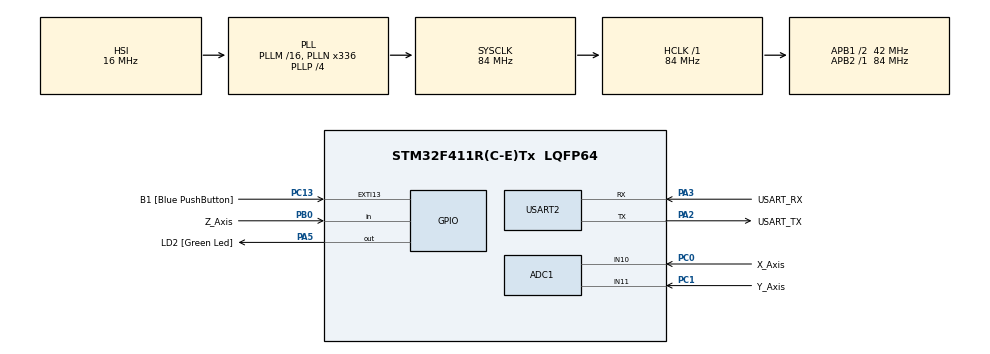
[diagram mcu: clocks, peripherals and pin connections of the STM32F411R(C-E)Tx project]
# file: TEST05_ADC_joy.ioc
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ADC1.Channel-3\#ChannelRegularConversion=ADC_CHANNEL_10
ADC1.Channel-5\#ChannelRegularConversion=ADC_CHANNEL_11
ADC1.ContinuousConvMode=DISABLE
ADC1.DiscontinuousConvMode=ENABLE
ADC1.NbrOfConversion=2
ADC1.NbrOfConversionFlag=1
ADC1.NbrOfDiscConversion=1
ADC1.Rank-3\#ChannelRegularConversion=1
ADC1.Rank-5\#ChannelRegularConversion=2
ADC1.SamplingTime-3\#ChannelRegularConversion=ADC_SAMPLETIME_15CYCLES
ADC1.SamplingTime-5\#ChannelRegularConversion=ADC_SAMPLETIME_15CYCLES
ADC1.ScanConvMode=ENABLE
ADC1.master=1
Mcu.Family=STM32F4
Mcu.Name=STM32F411R(C-E)Tx
Mcu.Package=LQFP64
NVIC.PriorityGroup=NVIC_PRIORITYGROUP_0
PA13.GPIO_Label=TMS
PA13.Mode=Serial_Wire
PA13.Signal=SYS_JTMS-SWDIO
PA14.GPIO_Label=TCK
PA14.Mode=Serial_Wire
PA14.Signal=SYS_JTCK-SWCLK
PA2.GPIO_Label=USART_TX
PA2.Mode=Asynchronous
PA2.Signal=USART2_TX
PA3.GPIO_Label=USART_RX
PA3.Mode=Asynchronous
PA3.Signal=USART2_RX
PA5.GPIO_Label=LD2 [Green Led]
PA5.Signal=GPIO_Output
PB0.GPIO_Label=Z_Axis
PB0.GPIO_PuPd=GPIO_PULLUP
PB0.Signal=GPIO_Input
PB3.GPIO_Label=SWO
PB3.Signal=SYS_JTDO-SWO
PC0.GPIO_Label=X_Axis
PC0.Signal=ADCx_IN10
PC1.GPIO_Label=Y_Axis
PC1.Signal=ADCx_IN11
PC13-ANTI_TAMP.GPIO_Label=B1 [Blue PushButton]
PC13-ANTI_TAMP.GPIO_ModeDefaultEXTI=GPIO_MODE_IT_FALLING
PC13-ANTI_TAMP.Signal=GPXTI13
PC14-OSC32_IN.Mode=LSE-External-Oscillator
PC14-OSC32_IN.Signal=RCC_OSC32_IN
PC15-OSC32_OUT.Mode=LSE-External-Oscillator
PC15-OSC32_OUT.Signal=RCC_OSC32_OUT
PH0\ -\ OSC_IN.Mode=HSE-External-Clock-Source
PH0\ -\ OSC_IN.Signal=RCC_OSC_IN
PH1\ -\ OSC_OUT.Mode=HSE-External-Clock-Source
PH1\ -\ OSC_OUT.Signal=RCC_OSC_OUT
ProjectManager.HeapSize=0x200
ProjectManager.StackSize=0x400
ProjectManager.TargetToolchain=STM32CubeIDE
RCC.48MHZClocksFreq_Value=84000000
RCC.AHBFreq_Value=84000000
RCC.APB1CLKDivider=RCC_HCLK_DIV2
RCC.APB1Freq_Value=42000000
RCC.APB1TimFreq_Value=84000000
RCC.APB2Freq_Value=84000000
RCC.APB2TimFreq_Value=84000000
RCC.CortexFreq_Value=84000000
RCC.FLatency-AdvancedSettings=FLASH_LATENCY_2
RCC.HCLKFreq_Value=84000000
RCC.HSE_VALUE=8000000
RCC.HSI_VALUE=16000000
RCC.PLLN=336
RCC.PLLP=RCC_PLLP_DIV4
RCC.SYSCLKFreq_VALUE=84000000
RCC.SYSCLKSource=RCC_SYSCLKSOURCE_PLLCLK
RCC.VCOOutputFreq_Value=336000000
SH.ADCx_IN10.0=ADC1_IN10,IN10
SH.ADCx_IN11.0=ADC1_IN11,IN11
TIM3.Period=65535
TIM3.Prescaler=0
USART2.VirtualMode=VM_ASYNC
VP_TIM3_VS_ClockSourceINT.Mode=Internal
board=NUCLEO-F411RE

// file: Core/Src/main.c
/* USER CODE BEGIN Header */
/**
  ******************************************************************************
  * @file           : main.c
  * @brief          : Main program body
  ******************************************************************************
  * @attention
  *
  * Copyright (c) 2024 STMicroelectronics.
  * All rights reserved.
  *
  * This software is licensed under terms that can be found in the LICENSE file
  * in the root directory of this software component.
  * If no LICENSE file comes with this software, it is provided AS-IS.
  *
  ******************************************************************************
  */
/* USER CODE END Header */
#include "main.h"

/* USER CODE BEGIN Includes */
#include <stdio.h>

/* USER CODE END Includes */

ADC_HandleTypeDef hadc1;

TIM_HandleTypeDef htim3;

UART_HandleTypeDef huart2;

void SystemClock_Config(void);
static void MX_GPIO_Init(void);
static void MX_USART2_UART_Init(void);
static void MX_ADC1_Init(void);
static void MX_TIM3_Init(void);

/* USER CODE BEGIN 0 */
int xa[100], ya[100];
void MakeItem()
{
	int i;
	srand(htim3.Instance->CNT);
	for(i = 0; i < 100; i++)
	{
		int v1 = rand();
		int v2 = rand();
		//printf("v : %d\r\n", x);
		//HAL_Delay(100);
		xa[i] = ((double)v1 / 2147483647.) * 80;
		ya[i] = ((double)v2 / 2147483647.) * 24;
		printf("[%d:%d](%d,%d)\r\n", v1, v2, xa[i], ya[i]);
		//printf("\033[%d;%dHo", xa[i], ya[i]);
	}
	printf("\n");
}

/* USER CODE END 0 */

int main(void)
{

  /* MCU Configuration--------------------------------------------------------*/

  /* Reset of all peripherals, Initializes the Flash interface and the Systick. */
  HAL_Init();

  /* Configure the system clock */
  SystemClock_Config();

  /* Initialize all configured peripherals */
  MX_GPIO_Init();
  MX_USART2_UART_Init();
  MX_ADC1_Init();
  MX_TIM3_Init();
  /* USER CODE BEGIN 2 */
  ProgramStart("ADC Polling");
  printf("\033[2J\033[?25l\n");

  /* USER CODE END 2 */

  /* Infinite loop */
  /* USER CODE BEGIN WHILE */
  int sx = 80, sy = 24; // screen size
  int cx = 39, cy = 12; // initial position
  while (1)
  {
    /* USER CODE END WHILE */

    /* USER CODE BEGIN 3 */
	  HAL_ADC_Start(&hadc1);
	  HAL_ADC_PollForConversion(&hadc1, 1000);
	  int v = HAL_ADC_GetValue(&hadc1);
	  int x = (sx * v) / 4096;
	  // HAL_ADC_Stop(&hadc1); // Skip
	  HAL_ADC_Start(&hadc1);
	  HAL_ADC_PollForConversion(&hadc1, 1000);
	  v = HAL_ADC_GetValue(&hadc1);
	  int y = (sy * v) / 4096;
	  //HAL_ADC_Start(&hadc1);
	  //HAL_ADC_PollForConversion(&hadc1, 1000);
	  int z = HAL_GPIO_ReadPin(Z_Axis_GPIO_Port, Z_Axis_Pin);
	  printf("\033[0;0HADC Value : (%d, %d, %d)\n", x, y, z);
	  printf("\033[%d;%dH \033[%d;%dH@\033[A\n", cy, cx, y, x);
	  cx = x; cy = y;
	  HAL_Delay(100);
  }
  /* USER CODE END 3 */
}

void SystemClock_Config(void)
{
  RCC_OscInitTypeDef RCC_OscInitStruct = {0};
  RCC_ClkInitTypeDef RCC_ClkInitStruct = {0};

  /** Configure the main internal regulator output voltage
  */
  __HAL_RCC_PWR_CLK_ENABLE();
  __HAL_PWR_VOLTAGESCALING_CONFIG(PWR_REGULATOR_VOLTAGE_SCALE1);

  /** Initializes the RCC Oscillators according to the specified parameters
  * in the RCC_OscInitTypeDef structure.
  */
  RCC_OscInitStruct.OscillatorType = RCC_OSCILLATORTYPE_HSI;
  RCC_OscInitStruct.HSIState = RCC_HSI_ON;
  RCC_OscInitStruct.HSICalibrationValue = RCC_HSICALIBRATION_DEFAULT;
  RCC_OscInitStruct.PLL.PLLState = RCC_PLL_ON;
  RCC_OscInitStruct.PLL.PLLSource = RCC_PLLSOURCE_HSI;
  RCC_OscInitStruct.PLL.PLLM = 16;
  RCC_OscInitStruct.PLL.PLLN = 336;
  RCC_OscInitStruct.PLL.PLLP = RCC_PLLP_DIV4;
  RCC_OscInitStruct.PLL.PLLQ = 4;
  if (HAL_RCC_OscConfig(&RCC_OscInitStruct) != HAL_OK)
  {
    Error_Handler();
  }

  /** Initializes the CPU, AHB and APB buses clocks
  */
  RCC_ClkInitStruct.ClockType = RCC_CLOCKTYPE_HCLK|RCC_CLOCKTYPE_SYSCLK
                              |RCC_CLOCKTYPE_PCLK1|RCC_CLOCKTYPE_PCLK2;
  RCC_ClkInitStruct.SYSCLKSource = RCC_SYSCLKSOURCE_PLLCLK;
  RCC_ClkInitStruct.AHBCLKDivider = RCC_SYSCLK_DIV1;
  RCC_ClkInitStruct.APB1CLKDivider = RCC_HCLK_DIV2;
  RCC_ClkInitStruct.APB2CLKDivider = RCC_HCLK_DIV1;

  if (HAL_RCC_ClockConfig(&RCC_ClkInitStruct, FLASH_LATENCY_2) != HAL_OK)
  {
    Error_Handler();
  }
}

static void MX_ADC1_Init(void)
{

  ADC_ChannelConfTypeDef sConfig = {0};

  /** Configure the global features of the ADC (Clock, Resolution, Data Alignment and number of conversion)
  */
  hadc1.Instance = ADC1;
  hadc1.Init.ClockPrescaler = ADC_CLOCK_SYNC_PCLK_DIV4;
  hadc1.Init.Resolution = ADC_RESOLUTION_12B;
  hadc1.Init.ScanConvMode = ENABLE;
  hadc1.Init.ContinuousConvMode = DISABLE;
  hadc1.Init.DiscontinuousConvMode = ENABLE;
  hadc1.Init.NbrOfDiscConversion = 1;
  hadc1.Init.ExternalTrigConvEdge = ADC_EXTERNALTRIGCONVEDGE_NONE;
  hadc1.Init.ExternalTrigConv = ADC_SOFTWARE_START;
  hadc1.Init.DataAlign = ADC_DATAALIGN_RIGHT;
  hadc1.Init.NbrOfConversion = 2;
  hadc1.Init.DMAContinuousRequests = DISABLE;
  hadc1.Init.EOCSelection = ADC_EOC_SINGLE_CONV;
  if (HAL_ADC_Init(&hadc1) != HAL_OK)
  {
    Error_Handler();
  }

  /** Configure for the selected ADC regular channel its corresponding rank in the sequencer and its sample time.
  */
  sConfig.Channel = ADC_CHANNEL_10;
  sConfig.Rank = 1;
  sConfig.SamplingTime = ADC_SAMPLETIME_15CYCLES;
  if (HAL_ADC_ConfigChannel(&hadc1, &sConfig) != HAL_OK)
  {
    Error_Handler();
  }

  /** Configure for the selected ADC regular channel its corresponding rank in the sequencer and its sample time.
  */
  sConfig.Channel = ADC_CHANNEL_11;
  sConfig.Rank = 2;
  if (HAL_ADC_ConfigChannel(&hadc1, &sConfig) != HAL_OK)
  {
    Error_Handler();
  }

}

static void MX_TIM3_Init(void)
{

  TIM_ClockConfigTypeDef sClockSourceConfig = {0};
  TIM_MasterConfigTypeDef sMasterConfig = {0};

  htim3.Instance = TIM3;
  htim3.Init.Prescaler = 0;
  htim3.Init.CounterMode = TIM_COUNTERMODE_UP;
  htim3.Init.Period = 65535;
  htim3.Init.ClockDivision = TIM_CLOCKDIVISION_DIV1;
  htim3.Init.AutoReloadPreload = TIM_AUTORELOAD_PRELOAD_DISABLE;
  if (HAL_TIM_Base_Init(&htim3) != HAL_OK)
  {
    Error_Handler();
  }
  sClockSourceConfig.ClockSource = TIM_CLOCKSOURCE_INTERNAL;
  if (HAL_TIM_ConfigClockSource(&htim3, &sClockSourceConfig) != HAL_OK)
  {
    Error_Handler();
  }
  sMasterConfig.MasterOutputTrigger = TIM_TRGO_RESET;
  sMasterConfig.MasterSlaveMode = TIM_MASTERSLAVEMODE_DISABLE;
  if (HAL_TIMEx_MasterConfigSynchronization(&htim3, &sMasterConfig) != HAL_OK)
  {
    Error_Handler();
  }

}

static void MX_USART2_UART_Init(void)
{

  huart2.Instance = USART2;
  huart2.Init.BaudRate = 115200;
  huart2.Init.WordLength = UART_WORDLENGTH_8B;
  huart2.Init.StopBits = UART_STOPBITS_1;
  huart2.Init.Parity = UART_PARITY_NONE;
  huart2.Init.Mode = UART_MODE_TX_RX;
  huart2.Init.HwFlowCtl = UART_HWCONTROL_NONE;
  huart2.Init.OverSampling = UART_OVERSAMPLING_16;
  if (HAL_UART_Init(&huart2) != HAL_OK)
  {
    Error_Handler();
  }

}

static void MX_GPIO_Init(void)
{
  GPIO_InitTypeDef GPIO_InitStruct = {0};

  /* GPIO Ports Clock Enable */
  __HAL_RCC_GPIOC_CLK_ENABLE();
  __HAL_RCC_GPIOH_CLK_ENABLE();
  __HAL_RCC_GPIOA_CLK_ENABLE();
  __HAL_RCC_GPIOB_CLK_ENABLE();

  /*Configure GPIO pin Output Level */
  HAL_GPIO_WritePin(LD2_GPIO_Port, LD2_Pin, GPIO_PIN_RESET);

  /*Configure GPIO pin : B1_Pin */
  GPIO_InitStruct.Pin = B1_Pin;
  GPIO_InitStruct.Mode = GPIO_MODE_IT_FALLING;
  GPIO_InitStruct.Pull = GPIO_NOPULL;
  HAL_GPIO_Init(B1_GPIO_Port, &GPIO_InitStruct);

  /*Configure GPIO pin : LD2_Pin */
  GPIO_InitStruct.Pin = LD2_Pin;
  GPIO_InitStruct.Mode = GPIO_MODE_OUTPUT_PP;
  GPIO_InitStruct.Pull = GPIO_NOPULL;
  GPIO_InitStruct.Speed = GPIO_SPEED_FREQ_LOW;
  HAL_GPIO_Init(LD2_GPIO_Port, &GPIO_InitStruct);

  /*Configure GPIO pin : Z_Axis_Pin */
  GPIO_InitStruct.Pin = Z_Axis_Pin;
  GPIO_InitStruct.Mode = GPIO_MODE_INPUT;
  GPIO_InitStruct.Pull = GPIO_PULLUP;
  HAL_GPIO_Init(Z_Axis_GPIO_Port, &GPIO_InitStruct);

}

void Error_Handler(void)
{
  __disable_irq();
  while (1)
  {
  }
}
